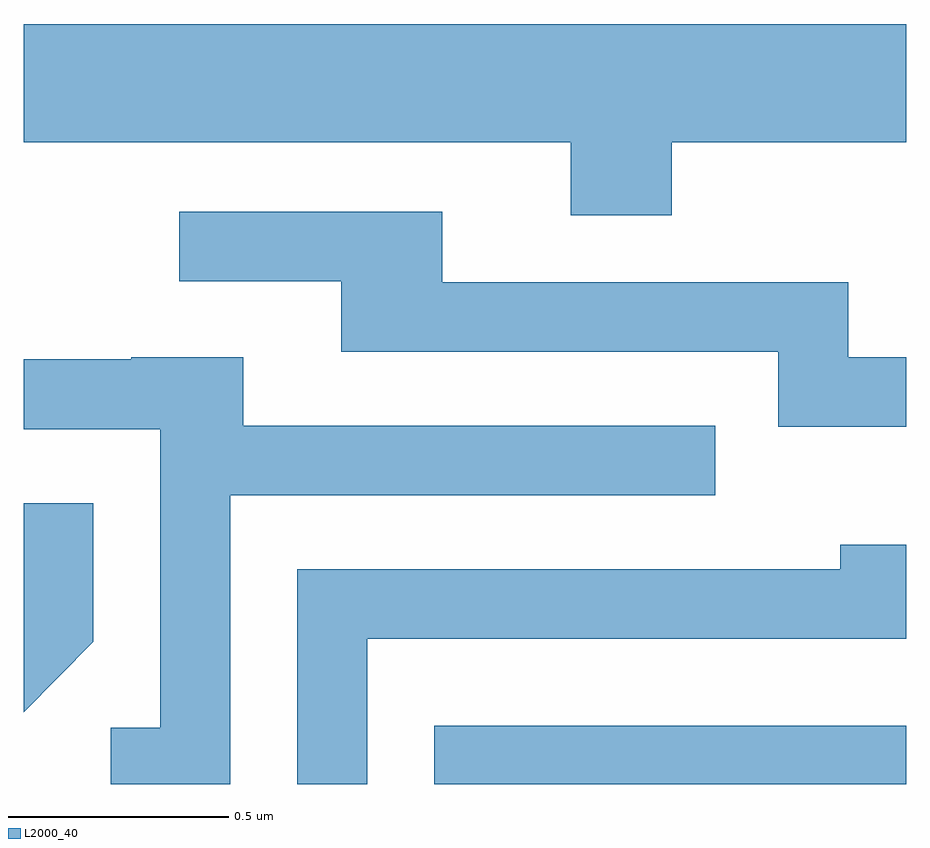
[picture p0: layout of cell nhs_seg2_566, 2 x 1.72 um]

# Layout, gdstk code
import gdstk
lib = gdstk.Library(unit=1e-6, precision=1e-09)
def R(c, l, rs):  # rectangles x0, y0, x1, y1
    for r in rs: c.add(gdstk.rectangle(r[:2], r[2:], *l))
def P(c, l, *ps):  # polygons
    for p in ps: c.add(gdstk.Polygon(p, *l))
L2000_40 = (2000, 40)

nhs_seg2_566 = lib.new_cell('nhs_seg2_566')
R(nhs_seg2_566, L2000_40, [(190.541,995.802,191.611,995.934)])
P(nhs_seg2_566, L2000_40, [(191.079,997.256),(191.611,997.256),(191.611,997.524),(189.611,997.524),(189.611,997.256),(190.851,997.256),(190.851,997.091),(191.079,997.091)],
  [(191.611,996.769),(191.479,996.769),(191.479,996.939),(190.559,996.939),(190.559,997.099),(189.963,997.099),(189.963,996.941),(190.331,996.941),(190.331,996.781),(191.321,996.781),(191.321,996.611),(191.611,996.611)],
  [(190.079,996.456),(191.178,996.456),(191.178,996.614),(190.109,996.614),(190.109,996.769),(189.855,996.769),(189.855,996.764),(189.611,996.764),(189.611,996.606),(189.921,996.606),(189.921,995.929),(189.808,995.929),(189.808,995.802),(190.079,995.802)],
  [(189.769,996.124),(189.769,996.438),(189.611,996.438),(189.611,995.965)],
  [(190.389,996.131),(191.611,996.131),(191.611,996.344),(191.461,996.344),(191.461,996.289),(190.231,996.289),(190.231,995.802),(190.389,995.802)])

lib.write_gds('nhs_seg2_566.gds')
